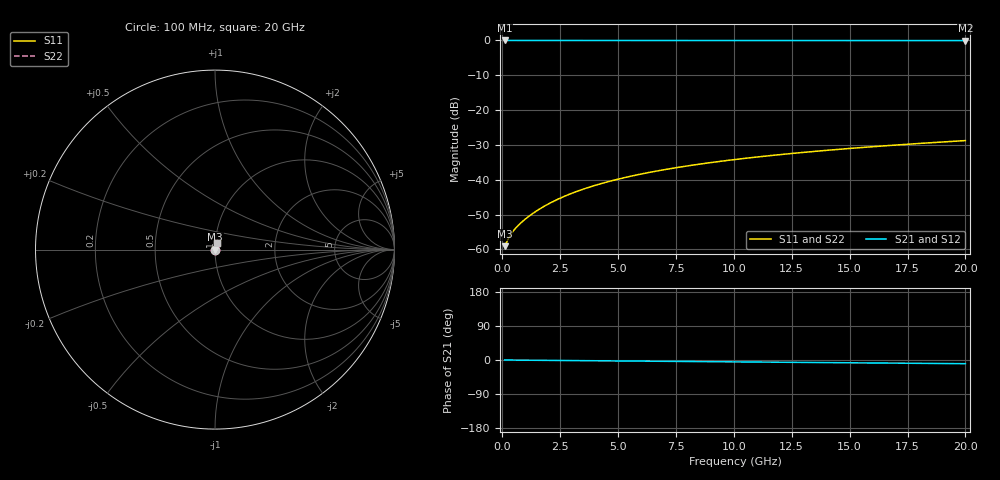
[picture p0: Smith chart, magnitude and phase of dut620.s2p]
! Touchstone file exported from HFSS 2026.1.0
!  File:  C:/ffzhzh/LocalFiles/Ansys_Project_Files/temp_train_BSMRDL_620_1783016396_4048.aedt
!  Generated:  02:21:18 AM Jul  3, 2026
!  Design:  BSMRDL
!  Project:  temp_train_BSMRDL_620_1783016396_4048
! Variables:
!  h_bsmrdl = 2.81um
!  h_ox = 20um
!  h_rdl = 5um
!  h_sub = 80um
!  h_tmrdl = 5um
!  h_tsv = 80um
!  h_via = 3um
!  l_bsmrdl = 151.18um
!  l_sub = 551.18um
!  l_tmrdl = 200um
!  m_sub = 200um
!  pitch = 32.58um
!  r_tsv = 6um
!  s_tmrdl = 10um
!  w_bsmrdl = 26um
!  w_sub = 500um
!  w_tmrdl = 12um
!  x_tsv_center1 = 206um
!  x_tsv_center2 = 383.18um
!  x_tsv_center3 = 595.18um
!  x_tsv_center4 = 772.36um
!  x_tsv_center5 = 984.36um
!  x_tsv_center6 = 1161.54um
# GHz S MA R 50.000000
! Terminal data exported
! Port[1] = BSM_RDL1_1_T1
! Port[2] = BSM_RDL1_1_T2
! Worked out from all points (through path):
!   200 points, 100 MHz to 20 GHz, reference 50 ohm
!   highest |S21| = -0.01 dB at 100 MHz (marker M1); lowest = 0.0 dB at 20 GHz (marker M2)
!   group delay of S21, straight-line fit = 1.35 ps
!   lowest |S11| = -59.1 dB at 100 MHz (marker M3), VSWR 1.00, Z = 50.1 + j0.0328 ohm
!   |S11| at or under -10 dB: start of sweep to end of sweep
!   |S22| runs from -59.1 to -28.8 dB; largest |S21 - S12| = 1.2e-14
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0.1  0.001115 17.1  0.9989 -0.1  0.9989 -0.1  0.001115 17.1
! Gamma 0 0 0 0
! Port Impedance 50 0 50 0
0.3  0.001504 35.7  0.9988 -0.2  0.9988 -0.2  0.001504 35.7
0.4  0.001705 40.2  0.9987 -0.2  0.9987 -0.2  0.001705 40.2
0.5  0.001891 43.5  0.9986 -0.3  0.9986 -0.3  0.001891 43.5
0.6  0.002067 46.4  0.9986 -0.3  0.9986 -0.3  0.002067 46.4
0.8  0.002404 51.1  0.9985 -0.4  0.9985 -0.4  0.002404 51.1
1  0.002739 55.1  0.9984 -0.5  0.9984 -0.5  0.002739 55.1
1.2  0.00308 58.3  0.9984 -0.6  0.9984 -0.6  0.00308 58.3
1.7  0.003967 64.3  0.9983 -0.9  0.9983 -0.9  0.003967 64.3
2.2  0.004888 68.2  0.9983 -1.1  0.9983 -1.1  0.004888 68.2
2.8  0.006016 71.1  0.9982 -1.4  0.9982 -1.4  0.006016 71.1
3.5  0.007347 73.2  0.9981 -1.7  0.9981 -1.7  0.007347 73.2
4.2  0.008683 74.5  0.998 -2.1  0.998 -2.1  0.008683 74.5
5  0.01021 75.4  0.9978 -2.5  0.9978 -2.5  0.01021 75.4
5.9  0.01191 75.9  0.9976 -2.9  0.9976 -2.9  0.01191 75.9
6.8  0.0136 76.2  0.9974 -3.4  0.9974 -3.4  0.0136 76.2
8.3  0.01637 76.2  0.9971 -4.1  0.9971 -4.1  0.01637 76.2
10.1  0.01963 75.9  0.9967 -5.0  0.9967 -5.0  0.01963 75.9
11.7  0.02246 75.4  0.9963 -5.8  0.9963 -5.8  0.02246 75.4
13.4  0.02542 74.9  0.9959 -6.6  0.9959 -6.6  0.02542 74.9
16.7  0.03103 73.8  0.9952 -8.2  0.9952 -8.2  0.03103 73.8
20  0.03651 72.7  0.9945 -9.8  0.9945 -9.8  0.03651 72.6
